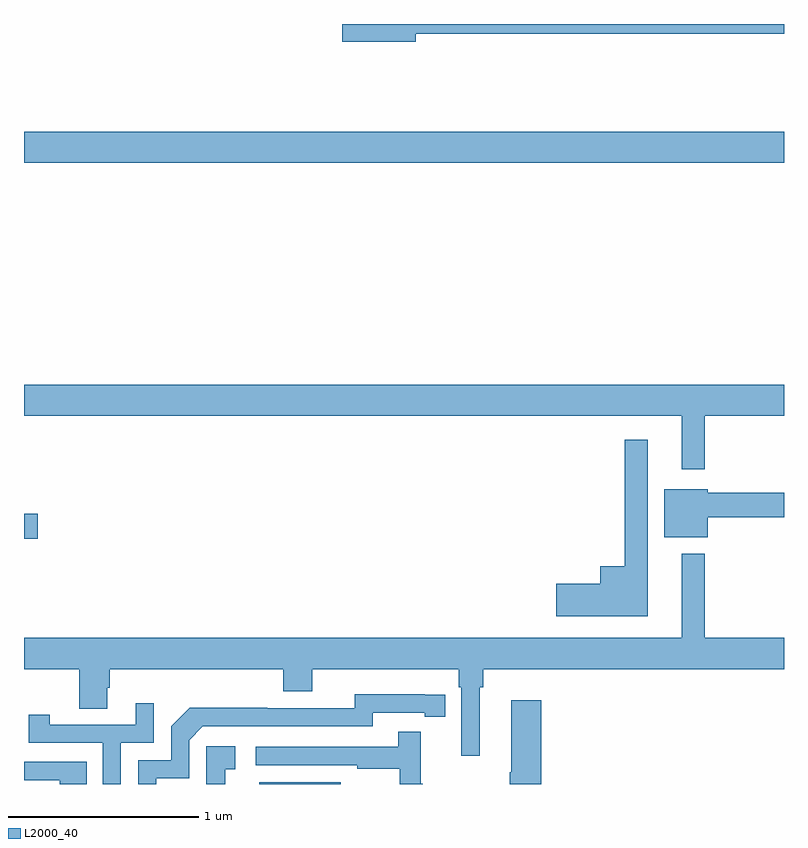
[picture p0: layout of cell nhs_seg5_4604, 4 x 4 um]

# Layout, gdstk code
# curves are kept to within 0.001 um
import gdstk
lib = gdstk.Library(unit=1e-6, precision=1e-09)
def R(c, l, rs):  # rectangles x0, y0, x1, y1
    for r in rs: c.add(gdstk.rectangle(r[:2], r[2:], *l))
def P(c, l, *ps):  # polygons
    for p in ps: c.add(gdstk.Polygon(p, *l))
L2000_40 = (2000, 40)

nhs_seg5_4604 = lib.new_cell('nhs_seg5_4604')
R(nhs_seg5_4604, L2000_40, [(382.238,878.799,382.666,878.809), (381,880.091,381.073,880.221), (381,882.068,385,882.232)])
P(nhs_seg5_4604, L2000_40, [(383.062,882.748),(385,882.748),(385,882.799),(382.674,882.799),(382.674,882.706),(383.062,882.706)],
  [(384.583,880.736),(385,880.736),(385,880.9),(381,880.9),(381,880.736),(384.461,880.736),(384.461,880.455),(384.583,880.455)],
  [(384.283,880.612),(384.162,880.612),(384.162,879.946),(384.032,879.946),(384.032,879.854),(383.802,879.854),(383.802,879.683),(384.283,879.683)],
  [(384.598,880.204),(385,880.204),(385,880.333),(384.598,880.333),(384.598,880.351),(384.371,880.351),(384.371,880.097),(384.598,880.097)],
  [(383.398,879.308),(383.417,879.308),(383.417,879.404),(385,879.404),(385,879.568),(384.583,879.568),(384.583,880.012),(384.461,880.012),(384.461,879.568),(381,879.568),(381,879.404),(381.292,879.404),(381.292,879.196),(381.439,879.196),(381.439,879.306),(381.452,879.306),(381.452,879.404),(382.364,879.404),(382.364,879.287),(382.516,879.287),(382.516,879.404),(383.288,879.404),(383.288,879.308),(383.301,879.308),(383.301,878.949),(383.398,878.949)],
  [(381.697,878.829),(381.87,878.829),(381.87,879.03),(381.942,879.102),(382.836,879.102),(382.836,879.174),(383.108,879.174),(383.108,879.154),(383.216,879.154),(383.216,879.27),(382.74,879.271),(382.74,879.198),(382.28,879.198),(382.28,879.2),(381.872,879.2),(381.774,879.102),(381.774,878.925),(381.6,878.925),(381.6,878.799),(381.697,878.799)],
  [(383.723,879.241),(383.564,879.241),(383.564,878.861),(383.557,878.861),(383.557,878.799),(383.723,878.799)],
  [(381.51,879.015),(381.684,879.015),(381.684,879.223),(381.587,879.223),(381.587,879.111),(381.136,879.111),(381.136,879.163),(381.025,879.163),(381.025,879.015),(381.414,879.015),(381.414,878.799),(381.51,878.799)],
  [(383.098,878.801),(383.087,878.801),(383.087,879.073),(382.969,879.073),(382.969,878.994),(382.221,878.994),(382.221,878.898),(382.753,878.898),(382.753,878.878),(382.977,878.878),(382.977,878.799),(383.098,878.799)],
  [(382.058,878.877),(382.111,878.877),(382.111,878.998),(381.96,878.998),(381.96,878.799),(382.058,878.799)],
  [(381.329,878.916),(381,878.916),(381,878.82),(381.189,878.82),(381.189,878.799),(381.329,878.799)])

lib.write_gds('nhs_seg5_4604.gds')
